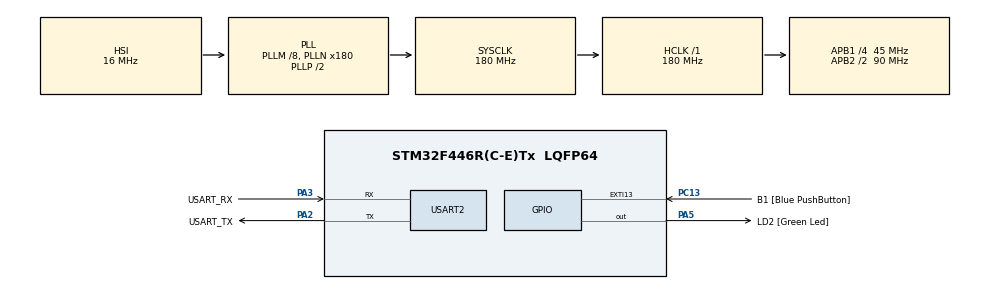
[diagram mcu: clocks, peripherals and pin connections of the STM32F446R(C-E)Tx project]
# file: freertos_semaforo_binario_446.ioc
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FREERTOS.Tasks01=defaultTask,24,128,StartDefaultTask,Default,NULL,Dynamic,NULL,NULL
FREERTOS.configUSE_NEWLIB_REENTRANT=1
Mcu.Family=STM32F4
Mcu.Name=STM32F446R(C-E)Tx
Mcu.Package=LQFP64
NVIC.PriorityGroup=NVIC_PRIORITYGROUP_4
NVIC.TIM8_TRG_COM_TIM14_IRQn=true\:15\:0\:false\:false\:true\:false\:false\:true\:true
NVIC.TimeBase=TIM8_TRG_COM_TIM14_IRQn
NVIC.TimeBaseIP=TIM14
PA13.GPIO_Label=TMS
PA13.Mode=Serial_Wire
PA13.Signal=SYS_JTMS-SWDIO
PA14.GPIO_Label=TCK
PA14.Mode=Serial_Wire
PA14.Signal=SYS_JTCK-SWCLK
PA2.GPIO_Label=USART_TX
PA2.Mode=Asynchronous
PA2.Signal=USART2_TX
PA3.GPIO_Label=USART_RX
PA3.Mode=Asynchronous
PA3.Signal=USART2_RX
PA5.GPIO_Label=LD2 [Green Led]
PA5.Signal=GPIO_Output
PB3.GPIO_Label=SWO
PB3.Signal=SYS_JTDO-SWO
PC13.GPIO_Label=B1 [Blue PushButton]
PC13.GPIO_ModeDefaultEXTI=GPIO_MODE_IT_FALLING
PC13.Signal=GPXTI13
PC14-OSC32_IN.Mode=LSE-External-Oscillator
PC14-OSC32_IN.Signal=RCC_OSC32_IN
PC15-OSC32_OUT.Mode=LSE-External-Oscillator
PC15-OSC32_OUT.Signal=RCC_OSC32_OUT
PH0-OSC_IN.Mode=HSE-External-Oscillator
PH0-OSC_IN.Signal=RCC_OSC_IN
PH1-OSC_OUT.Mode=HSE-External-Oscillator
PH1-OSC_OUT.Signal=RCC_OSC_OUT
ProjectManager.HeapSize=0x200
ProjectManager.StackSize=0x400
ProjectManager.TargetToolchain=STM32CubeIDE
RCC.48MHZClocksFreq_Value=84000000
RCC.AHBFreq_Value=180000000
RCC.APB1CLKDivider=RCC_HCLK_DIV4
RCC.APB1Freq_Value=45000000
RCC.APB1TimFreq_Value=90000000
RCC.APB2CLKDivider=RCC_HCLK_DIV2
RCC.APB2Freq_Value=90000000
RCC.APB2TimFreq_Value=180000000
RCC.CortexFreq_Value=180000000
RCC.FLatency-AdvancedSettings=FLASH_LATENCY_5
RCC.HCLKFreq_Value=180000000
RCC.HSE_VALUE=8000000
RCC.HSI_VALUE=16000000
RCC.PLLM=8
RCC.PLLN=180
RCC.SYSCLKFreq_VALUE=180000000
RCC.SYSCLKSource=RCC_SYSCLKSOURCE_PLLCLK
RCC.USBFreq_Value=180000000
RCC.VCOOutputFreq_Value=360000000
USART2.VirtualMode=VM_ASYNC
VP_FREERTOS_VS_CMSIS_V2.Mode=CMSIS_V2
VP_SYS_VS_tim14.Mode=TIM14
board=NUCLEO-F446RE

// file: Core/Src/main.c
/* USER CODE BEGIN Header */
/**
  ******************************************************************************
  * @file           : main.c
  * @brief          : Main program body
  ******************************************************************************
  * @attention
  *
  * Copyright (c) 2026 STMicroelectronics.
  * All rights reserved.
  *
  * This software is licensed under terms that can be found in the LICENSE file
  * in the root directory of this software component.
  * If no LICENSE file comes with this software, it is provided AS-IS.
  *
  ******************************************************************************
  */
/* USER CODE END Header */
#include "main.h"
#include "cmsis_os.h"

/* USER CODE BEGIN Includes */
#include "task.h"
#include "semphr.h"
/* USER CODE END Includes */

UART_HandleTypeDef huart2;

/* Definitions for defaultTask */
osThreadId_t defaultTaskHandle;
const osThreadAttr_t defaultTask_attributes = {
  .name = "defaultTask",
  .stack_size = 128 * 4,
  .priority = (osPriority_t) osPriorityNormal,
};
/* USER CODE BEGIN PV */
xSemaphoreHandle semaforo_binario;
/* USER CODE END PV */

void SystemClock_Config(void);
static void MX_GPIO_Init(void);
static void MX_USART2_UART_Init(void);
void StartDefaultTask(void *argument);

/* USER CODE BEGIN 0 */
void tarea_boton(void *p){
	GPIO_PinState anterior, actual;
	TickType_t t;
	anterior = HAL_GPIO_ReadPin(B1_GPIO_Port, B1_Pin);
	t = xTaskGetTickCount();
	while(1){
		actual = HAL_GPIO_ReadPin(B1_GPIO_Port, B1_Pin);
		if(actual == GPIO_PIN_RESET && anterior == GPIO_PIN_SET){
			// evita múltiples eventos por rebote
			if((xTaskGetTickCount()-t)>=pdMS_TO_TICKS(100)){
				xSemaphoreGive(semaforo_binario);
				t = xTaskGetTickCount();
			}
		}
		anterior = actual;
		vTaskDelay(pdMS_TO_TICKS(10));
	}
}

void tarea_led(void *p) {
	while(1){
		xSemaphoreTake(semaforo_binario,portMAX_DELAY);
		HAL_GPIO_TogglePin(LD2_GPIO_Port, LD2_Pin);
	}
}

/* USER CODE END 0 */

int main(void)
{

  /* MCU Configuration--------------------------------------------------------*/

  /* Reset of all peripherals, Initializes the Flash interface and the Systick. */
  HAL_Init();

  /* Configure the system clock */
  SystemClock_Config();

  /* Initialize all configured peripherals */
  MX_GPIO_Init();
  MX_USART2_UART_Init();

  /* Init scheduler */
  osKernelInitialize();

  /* USER CODE BEGIN RTOS_SEMAPHORES */
  /* add semaphores, ... */
  semaforo_binario = xSemaphoreCreateBinary();
  /* USER CODE END RTOS_SEMAPHORES */

  /* Create the thread(s) */
  /* creation of defaultTask */
  defaultTaskHandle = osThreadNew(StartDefaultTask, NULL, &defaultTask_attributes);

  /* USER CODE BEGIN RTOS_THREADS */
  /* add threads, ... */
  xTaskCreate(tarea_boton,
		  	  "btn",
			  configMINIMAL_STACK_SIZE,
			  NULL,
			  osPriorityNormal,
			  NULL);

  xTaskCreate(tarea_led,
  		  	  "led",
  			  configMINIMAL_STACK_SIZE,
  			  NULL,
  			  osPriorityNormal,
  			  NULL);

  /* USER CODE END RTOS_THREADS */

  /* Start scheduler */
  osKernelStart();

  /* We should never get here as control is now taken by the scheduler */

  /* Infinite loop */
  while (1)
  {

  }
}

void SystemClock_Config(void)
{
  RCC_OscInitTypeDef RCC_OscInitStruct = {0};
  RCC_ClkInitTypeDef RCC_ClkInitStruct = {0};

  /** Configure the main internal regulator output voltage
  */
  __HAL_RCC_PWR_CLK_ENABLE();
  __HAL_PWR_VOLTAGESCALING_CONFIG(PWR_REGULATOR_VOLTAGE_SCALE1);

  /** Initializes the RCC Oscillators according to the specified parameters
  * in the RCC_OscInitTypeDef structure.
  */
  RCC_OscInitStruct.OscillatorType = RCC_OSCILLATORTYPE_HSI;
  RCC_OscInitStruct.HSIState = RCC_HSI_ON;
  RCC_OscInitStruct.HSICalibrationValue = RCC_HSICALIBRATION_DEFAULT;
  RCC_OscInitStruct.PLL.PLLState = RCC_PLL_ON;
  RCC_OscInitStruct.PLL.PLLSource = RCC_PLLSOURCE_HSI;
  RCC_OscInitStruct.PLL.PLLM = 8;
  RCC_OscInitStruct.PLL.PLLN = 180;
  RCC_OscInitStruct.PLL.PLLP = RCC_PLLP_DIV2;
  RCC_OscInitStruct.PLL.PLLQ = 2;
  RCC_OscInitStruct.PLL.PLLR = 2;
  if (HAL_RCC_OscConfig(&RCC_OscInitStruct) != HAL_OK)
  {
    Error_Handler();
  }

  /** Activate the Over-Drive mode
  */
  if (HAL_PWREx_EnableOverDrive() != HAL_OK)
  {
    Error_Handler();
  }

  /** Initializes the CPU, AHB and APB buses clocks
  */
  RCC_ClkInitStruct.ClockType = RCC_CLOCKTYPE_HCLK|RCC_CLOCKTYPE_SYSCLK
                              |RCC_CLOCKTYPE_PCLK1|RCC_CLOCKTYPE_PCLK2;
  RCC_ClkInitStruct.SYSCLKSource = RCC_SYSCLKSOURCE_PLLCLK;
  RCC_ClkInitStruct.AHBCLKDivider = RCC_SYSCLK_DIV1;
  RCC_ClkInitStruct.APB1CLKDivider = RCC_HCLK_DIV4;
  RCC_ClkInitStruct.APB2CLKDivider = RCC_HCLK_DIV2;

  if (HAL_RCC_ClockConfig(&RCC_ClkInitStruct, FLASH_LATENCY_5) != HAL_OK)
  {
    Error_Handler();
  }
}

static void MX_USART2_UART_Init(void)
{

  huart2.Instance = USART2;
  huart2.Init.BaudRate = 115200;
  huart2.Init.WordLength = UART_WORDLENGTH_8B;
  huart2.Init.StopBits = UART_STOPBITS_1;
  huart2.Init.Parity = UART_PARITY_NONE;
  huart2.Init.Mode = UART_MODE_TX_RX;
  huart2.Init.HwFlowCtl = UART_HWCONTROL_NONE;
  huart2.Init.OverSampling = UART_OVERSAMPLING_16;
  if (HAL_UART_Init(&huart2) != HAL_OK)
  {
    Error_Handler();
  }

}

static void MX_GPIO_Init(void)
{
  GPIO_InitTypeDef GPIO_InitStruct = {0};

  /* GPIO Ports Clock Enable */
  __HAL_RCC_GPIOC_CLK_ENABLE();
  __HAL_RCC_GPIOH_CLK_ENABLE();
  __HAL_RCC_GPIOA_CLK_ENABLE();
  __HAL_RCC_GPIOB_CLK_ENABLE();

  /*Configure GPIO pin Output Level */
  HAL_GPIO_WritePin(LD2_GPIO_Port, LD2_Pin, GPIO_PIN_RESET);

  /*Configure GPIO pin : B1_Pin */
  GPIO_InitStruct.Pin = B1_Pin;
  GPIO_InitStruct.Mode = GPIO_MODE_INPUT;
  GPIO_InitStruct.Pull = GPIO_PULLDOWN;
  HAL_GPIO_Init(B1_GPIO_Port, &GPIO_InitStruct);

  /*Configure GPIO pin : LD2_Pin */
  GPIO_InitStruct.Pin = LD2_Pin;
  GPIO_InitStruct.Mode = GPIO_MODE_OUTPUT_PP;
  GPIO_InitStruct.Pull = GPIO_NOPULL;
  GPIO_InitStruct.Speed = GPIO_SPEED_FREQ_LOW;
  HAL_GPIO_Init(LD2_GPIO_Port, &GPIO_InitStruct);

}

void StartDefaultTask(void *argument)
{
  for(;;)
  {
    osDelay(1);
  }
}

void HAL_TIM_PeriodElapsedCallback(TIM_HandleTypeDef *htim)
{
  if (htim->Instance == TIM14) {
    HAL_IncTick();
  }
}

void Error_Handler(void)
{
  __disable_irq();
  while (1)
  {
  }
}
